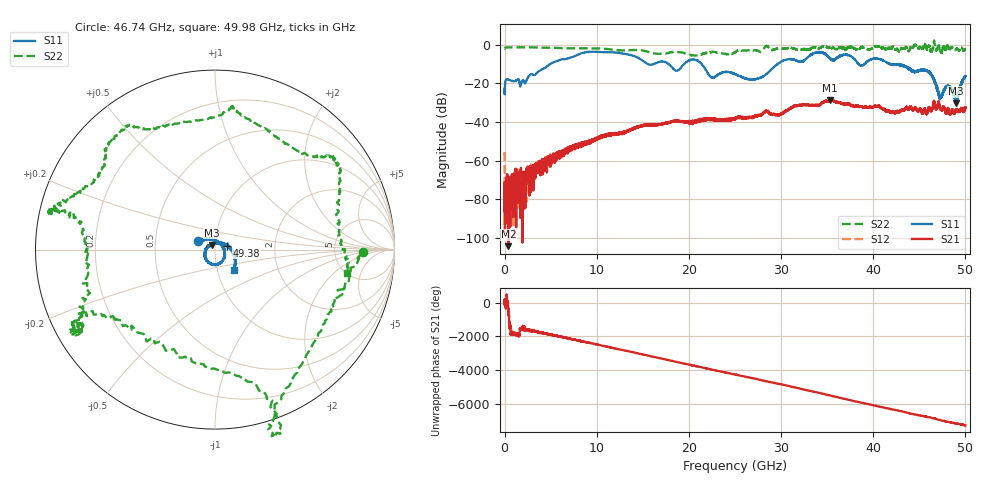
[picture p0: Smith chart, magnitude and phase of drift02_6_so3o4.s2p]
!Created with skrf (http://scikit-rf.org).
# Hz S RI R 50.0
!freq ReS11 ImS11 ReS21 ImS21 ReS12 ImS12 ReS22 ImS22
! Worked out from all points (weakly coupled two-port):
!   10001 points, 300 kHz to 50 GHz, reference 50 ohm
!   highest |S21| = -28.58 dB at 35.32 GHz (marker M1); lowest = -104.3 dB at 410.3 MHz (marker M2)
!   lowest |S11| = -30.3 dB at 48.97 GHz (marker M3), VSWR 1.06, Z = 48.3 + j2.44 ohm
!   |S11| at or under -10 dB: start of sweep to 4.958 GHz; 21.38 GHz to 29.63 GHz (8.25 GHz wide, 32.3 % of centre); 41.83 GHz to end of sweep (the widest 3 of 10)
!   |S22| runs from -5.7 to 2.2 dB; largest |S21 - S12| = 0.0031
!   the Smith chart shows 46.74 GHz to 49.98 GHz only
!   S11 on the Smith chart (normalised r, x): 46.74 GHz: 0.83, +0.08; 49.38 GHz: 1.14, +0.05; 49.98 GHz: 1.20, -0.28
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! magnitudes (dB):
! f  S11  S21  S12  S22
! 300 kHz  -22.8  -72.1  -55.8  -2.1
! 255.3 MHz  -17.9  -72.7  -76.1  -1.4
! 410.3 MHz  -18.1  -104.3  -82.1  -1.5
! 1.87 GHz  -19.1  -68.8  -69.7  -1.3
! 8.335 GHz  -4.5  -51.4  -50.9  -1.9
! 16.67 GHz  -9.1  -41.4  -41.4  -4.7
! 18.69 GHz  -13.5  -39.7  -39.5  -3.7
! 20.6 GHz  -7.7  -39.8  -39.9  -5.6
! 22.5 GHz  -17.2  -38.4  -38.5  -3.8
! 25 GHz  -15.2  -38.3  -38.5  -3.9
! 27.45 GHz  -17.6  -37.0  -36.4  -3.1
! 33.34 GHz  -4.9  -31.2  -31.4  -1.6
! 35.32 GHz  -7.1  -28.6  -28.7  -1.4
! 41.67 GHz  -9.6  -33.9  -34.3  -1.9
! 45.78 GHz  -13.2  -36.1  -35.6  -2.0
! 46.74 GHz  -19.6  -33.1  -32.4  -1.7
! 47.25 GHz  -27.7  -32.5  -32.8  -3.3
! 48.16 GHz  -21.6  -33.9  -33.2  -0.8
! 48.97 GHz  -30.3  -34.0  -34.0  -2.6
! 49.38 GHz  -23.1  -34.6  -34.1  -2.9
! 49.98 GHz  -16.3  -32.7  -33.1  -2.5
! 50 GHz  -16.3  -32.5  -32.3  -2.5
